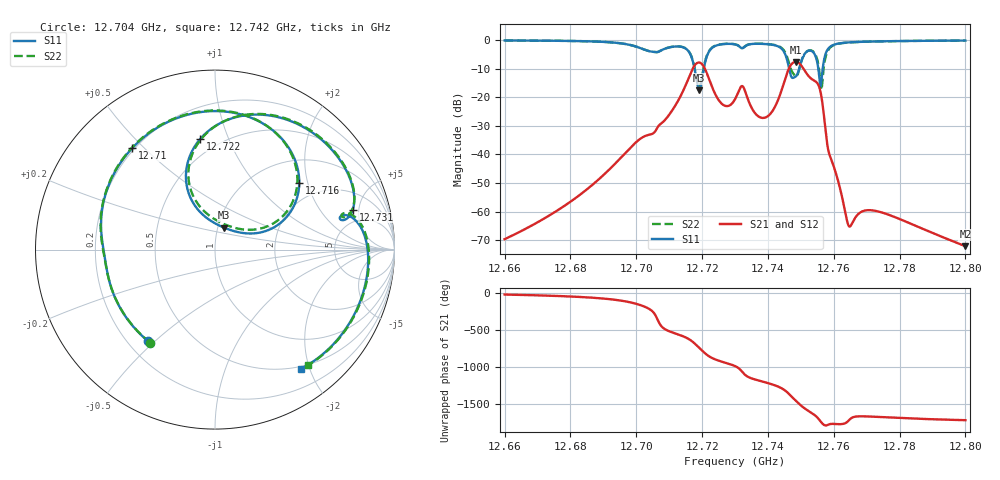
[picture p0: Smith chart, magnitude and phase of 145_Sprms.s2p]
! TOUCHSTONE file generated by CST MICROWAVE STUDIO
! Date and time: Wed Jul 31 18:08:44 2024
! Project name: WaveGuide_BPF-Ver4.1_U-shape_Ku_T3_C4_CWA_2.cst
! Parameters = {cavity_h=16; cavity_l0=10; cavity_l1=15.1662; cavity_l2=16.8756; cavity_l3=17.0704; cavity_l4=17.2771; cavity_l5=17.0887; cavity_l6=17.6232; cavity_r=2.5; cavity_screw_l=0.5; cavity_screw_r=1.5; cavity_w=8; iris_h00=0; iris_h01=8.8332; iris_h112=0; iris_h12=5.6127; iris_h211=3.6621; 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
! Header version: 2018
! Port assignment regex: !\s*Touchstone port\s*([0-9]+)\s*=\s*(CST MWS port|CST DS port)\s*([0-9]+|Zmin|Zmax)\s*\(\"(.*)\"\)(\s*mode\s*([0-9]+))?.*
! Touchstone port assignment:
! Touchstone port 1 = CST MWS port 1 ("")
! Touchstone port 2 = CST MWS port 2 ("")
# GHz S RI R 50
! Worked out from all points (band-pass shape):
!   5001 points, 12.66 GHz to 12.8 GHz, reference 50 ohm
!   highest |S21| = -7.65 dB at 12.749 GHz (marker M1); lowest = -72.1 dB at 12.8 GHz (marker M2)
!   |S21| within 3 dB of the highest: 12.7169 GHz to 12.72109 GHz (4.192 MHz wide, 0.033 % of centre); 12.74612 GHz to 12.75113 GHz (5.012 MHz wide, 0.0393 % of centre)
!   lowest |S11| = -17.6 dB at 12.719 GHz (marker M3), VSWR 1.30, Z = 53.7 + j13.3 ohm
!   |S11| at or under -10 dB: 12.71771 GHz to 12.72052 GHz (2.81 MHz wide, 0.0221 % of centre); 12.74644 GHz to 12.74949 GHz (3.047 MHz wide, 0.0239 % of centre); 12.75531 GHz to 12.75665 GHz (1.335 MHz wide, 0.0105 % of centre)
!   |S22| runs from -17.5 to -0.2 dB; largest |S21 - S12| = 1e-09
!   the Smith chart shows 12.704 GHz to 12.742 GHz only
!   S11 on the Smith chart (normalised r, x): 12.704 GHz: 0.28, -0.48; 12.71 GHz: 0.19, +0.46; 12.716 GHz: 1.52, +1.77; 12.722 GHz: 0.39, +0.80; 12.731 GHz: 3.48, +4.30; 12.742 GHz: 0.46, -1.87
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12.66  0.2902 0.938  0.000306 -0.00012  0.000306 -0.00012  0.2887 0.9386
12.68335  0.713 0.6353  0.00118 -0.00169  0.00118 -0.00169  0.7088 0.6406
12.69696  0.8163 -0.2206  -0.00474 -0.00993  -0.00474 -0.00993  0.8208 -0.2076
12.70427  -0.3709 -0.5119  -0.0158 0.0158  -0.0158 0.0158  -0.3607 -0.5185
12.70668  -0.6201 -0.00806  0.0293 -0.0101  0.0293 -0.0101  -0.6208 -0.0171
12.70953  -0.4603 0.5663  -0.0384 -0.0244  -0.0384 -0.0244  -0.4698 0.5604
12.71295  0.0954 0.764  -0.0845 0.0358  -0.0845 0.0358  0.0772 0.7698
12.71617  0.4694 0.373  -0.00869 0.2343  -0.00869 0.2343  0.4587 0.3997
12.71914  0.0512 0.122  0.3786 -0.1395  0.3786 -0.1395  0.0523 0.1414
12.72208  -0.0808 0.6183  -0.1449 -0.1522  -0.1449 -0.1522  -0.0617 0.6337
12.73  0.7713 0.3288  -0.00604 0.0919  -0.00604 0.0919  0.771 0.3423
12.73092  0.7678 0.2229  0.0392 0.113  0.0392 0.113  0.7703 0.2395
12.74165  0.4803 -0.6632  -0.0564 -0.0221  -0.0564 -0.0221  0.5204 -0.6429
12.74557  -0.1245 -0.4885  -0.0878 0.2219  -0.0878 0.2219  -0.0697 -0.5485
12.74851  0.1177 -0.1991  0.3996 -0.1099  0.3996 -0.1099  0.0833 -0.2159
12.75089  0.3412 -0.4184  -0.0983 -0.2927  -0.0983 -0.2927  0.3353 -0.4207
12.75335  0.00491 -0.6392  -0.207 -0.00185  -0.207 -0.00185  0.00498 -0.6501
12.75624  0.1079 -0.1529  0.0604 0.0847  0.0604 0.0847  0.0193 -0.1323
12.75814  0.3279 -0.596  0.0129 0.00455  0.0129 0.00455  0.35 -0.5328
12.76452  -0.3513 -0.8362  0.000111 0.000554  0.000111 0.000554  -0.334 -0.8405
12.77668  -0.8496 -0.4317  -0.000441 0.000763  -0.000441 0.000763  -0.8463 -0.4367
12.8  -0.9653 0.1571  2.68e-05 0.000247  2.68e-05 0.000247  -0.9651 0.1576
